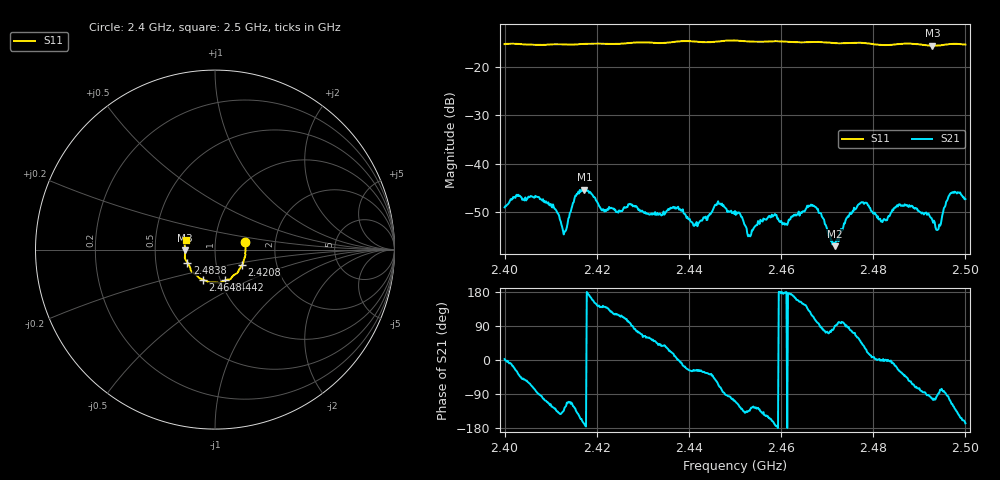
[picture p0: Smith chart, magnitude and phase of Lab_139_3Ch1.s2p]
# Hz S RI R 50
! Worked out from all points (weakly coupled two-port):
!   601 points, 2.4 GHz to 2.5 GHz, reference 50 ohm
!   highest |S21| = -45.32 dB at 2.4173 GHz (marker M1); lowest = -57.0 dB at 2.4717 GHz (marker M2)
!   lowest |S11| = -15.6 dB at 2.4928 GHz (marker M3), VSWR 1.40, Z = 35.8 - j0.367 ohm
!   |S11| at or under -10 dB: start of sweep to end of sweep
!   S12 and S22 are empty: the file has one direction only
!   S11 on the Smith chart (normalised r, x): 2.4 GHz: 1.40, +0.12; 2.4208 GHz: 1.33, -0.24; 2.4442 GHz: 1.05, -0.37; 2.4648 GHz: 0.83, -0.29; 2.4838 GHz: 0.73, -0.11; 2.5 GHz: 0.72, +0.08
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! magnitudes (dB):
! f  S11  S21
! 2.4 GHz  -15.3  -49.0
! 2.4072 GHz  -15.4  -46.9
! 2.413 GHz  -15.3  -54.0
! 2.4167 GHz  -15.2  -45.5
! 2.4173 GHz  -15.2  -45.3
! 2.4208 GHz  -15.2  -49.2
! 2.4333 GHz  -15.0  -50.5
! 2.4442 GHz  -14.9  -50.7
! 2.4463 GHz  -14.7  -47.7
! 2.45 GHz  -14.5  -49.7
! 2.4532 GHz  -14.7  -54.9
! 2.4648 GHz  -14.9  -49.8
! 2.4667 GHz  -14.8  -48.7
! 2.4717 GHz  -15.1  -57.0
! 2.4773 GHz  -15.0  -48.0
! 2.4833 GHz  -15.5  -50.7
! 2.4838 GHz  -15.4  -50.1
! 2.4873 GHz  -15.1  -48.5
! 2.4928 GHz  -15.6  -51.6
! 2.4942 GHz  -15.6  -53.5
! 2.4972 GHz  -15.2  -45.8
! 2.5 GHz  -15.4  -47.3
